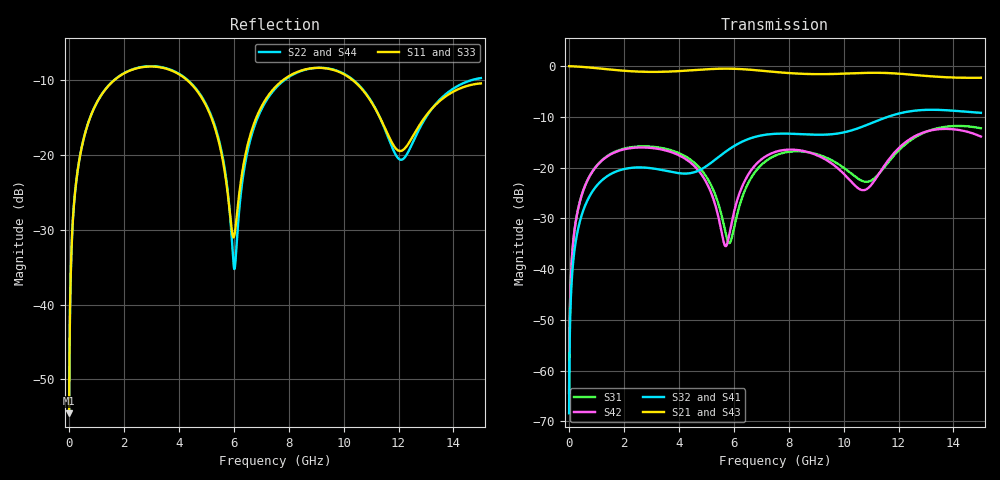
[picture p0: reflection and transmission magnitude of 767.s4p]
! Created with skrf 1.8.0 (http://scikit-rf.org).
# GHz S RI R 50.0
!freq ReS11 ImS11 ReS12 ImS12 ReS13 ImS13
! ReS14 ImS14
! ReS21 ImS21 ReS22 ImS22 ReS23 ImS23
! ReS24 ImS24
! ReS31 ImS31 ReS32 ImS32 ReS33 ImS33
! ReS34 ImS34
! ReS41 ImS41 ReS42 ImS42 ReS43 ImS43
! ReS44 ImS44
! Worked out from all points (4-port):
!   2499 points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, 5 MHz to 15 GHz, reference 50 ohm
!   strongest paths, dB at 5 MHz, 3.476 GHz, 7.19 GHz, 11.1 GHz, 15 GHz:
!     S21: 0.0, -1.1, -1.0, -1.3, -2.3
!     S43: 0.0, -1.1, -1.0, -1.3, -2.3
!     S32: -68.4, -20.6, -13.5, -11.0, -9.2
!     S41: -68.4, -20.6, -13.5, -11.0, -9.3
!     S42: -64.4, -16.6, -17.7, -22.8, -13.9
!     S31: -64.4, -16.2, -18.6, -22.2, -12.3
!   lowest |S11| = -54.5 dB at 5 MHz (marker M1), VSWR 1.00, Z = 50.1 + j0.114 ohm
!   |S11| at or under -10 dB: start of sweep to 1.642 GHz; 4.309 GHz to 7.788 GHz (3.479 GHz wide, 57.5 % of centre); 10.34 GHz to end of sweep
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0.005  0.00149 0.00113  0.9985 -0.00291  7.48e-05 0.000596  -7.26e-05 -0.000373
       0.9985 -0.00291  0.00149 0.00113  -7.26e-05 -0.000373  7.47e-05 0.000596
       7.48e-05 0.000596  -7.26e-05 -0.000373  0.00149 0.00113  0.9985 -0.00291
       -7.26e-05 -0.000373  7.47e-05 0.000596  0.9985 -0.00291  0.00149 0.00113
0.3126303  0.0205 0.0752  0.972 -0.1815  0.00953 0.0357  -0.00777 -0.0222
           0.972 -0.1815  0.0206 0.0752  -0.00778 -0.0222  0.00914 0.0358
           0.00953 0.0357  -0.00778 -0.0222  0.0205 0.0752  0.972 -0.1815
           -0.00777 -0.0222  0.00914 0.0358  0.972 -0.1815  0.0206 0.0752
1.519383  0.2347 0.189  0.6208 -0.6841  0.1184 0.0679  -0.0844 -0.0177
          0.6208 -0.6841  0.2363 0.1881  -0.0845 -0.0176  0.1131 0.0739
          0.1184 0.0679  -0.0845 -0.0176  0.2346 0.1891  0.6207 -0.6841
          -0.0844 -0.0177  0.1131 0.0739  0.6207 -0.6841  0.2364 0.188
4.795748  0.1734 -0.1775  -0.6821 -0.6213  0.0319 -0.0913  -0.0432 0.0845
          -0.6821 -0.6213  0.168 -0.1874  -0.0415 0.0862  0.0598 -0.0642
          0.0319 -0.0913  -0.0415 0.0862  0.1747 -0.1771  -0.6819 -0.6212
          -0.0432 0.0845  0.0598 -0.0642  -0.6819 -0.6212  0.1678 -0.1889
6.027511  0.0284 0.0076  -0.939 -0.0568  -0.0108 0.0243  -0.00718 0.1639
          -0.939 -0.0568  0.0173 0.00049  -0.00329 0.164  0.0242 0.0297
          -0.0108 0.0243  -0.00329 0.164  0.0302 0.00642  -0.939 -0.0569
          -0.00718 0.1639  0.0242 0.0297  -0.939 -0.0569  0.0158 -0.000669
9.341392  0.3796 -0.0282  0.0184 0.8334  0.0839 -0.0945  0.2056 -0.0434
          0.0184 0.8334  0.3805 -0.0286  0.205 -0.0509  0.0856 -0.0844
          0.0839 -0.0945  0.205 -0.0509  0.3785 -0.0298  0.0193 0.8334
          0.2056 -0.0434  0.0856 -0.0844  0.0193 0.8334  0.3811 -0.0278
15  0.3014 -0.00278  0.2198 -0.7354  0.2205 -0.1042  -0.3405 -0.0248
    0.2198 -0.7354  0.327 -0.00506  -0.3463 -0.00602  0.1994 -0.0344
    0.2205 -0.1042  -0.3463 -0.00602  0.2959 0.00188  0.2164 -0.7359
    -0.3405 -0.0248  0.1994 -0.0344  0.2164 -0.7359  0.3337 -0.0105
